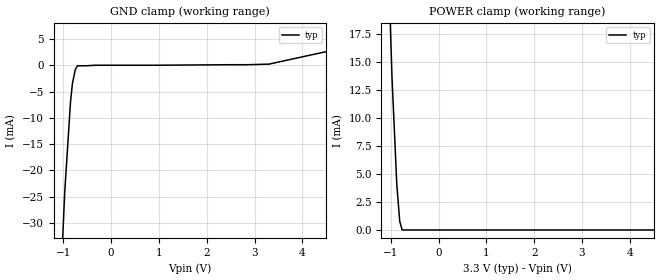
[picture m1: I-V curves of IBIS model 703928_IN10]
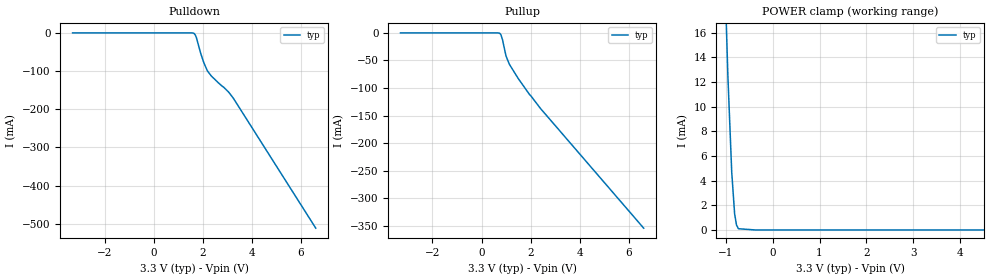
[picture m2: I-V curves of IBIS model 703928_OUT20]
| YOU ARE ONLY AUTHORIZED TO USE THIS SOFTWARE
| ACCORDING TO LICENSOR'S LICENSE RESTRICTIONS.
[IBIS Ver] 3.1
[File Name] mc100ep131fa_33.ibs
[File Rev] 2.0
[Source] Derived from MC10EP195 Measured data by ICX Technology
[Date] 12/6/2001
[Copyright]
| (C) COPYRIGHT 1993-2001
| MENTOR GRAPHICS CORPORATION
| ICX STANDARD LIBRARY, ICX PROJECT MODELING,
| ICX CUSTOM MODELING, ICX VENDOR MODEL
| ALL RIGHTS RESERVED.
| THE FOLLOWING ARE TRADEMARKS OR SERVICE MARKS OF
| MENTOR GRAPHICS CORPORATION:ICX (R), ICX STANDARD
| LIBRARY(R), ICX PROJECT MODELING(R), ICX CUSTOM
| MODELING(R), qualityIBIS(TM), MODELVIEWER(TM),
| AND MODELEDITOR(TM)
| ALL COPIES OF SOFTWARE, INCLUDING BUT NOT LIMITED TO
| ANY MODIFICATIONS, ENHANCEMENTS OR DERIVATIVE WORKS,
| MUST CONTAIN ALL MENTOR GRAPHICS CORPORATION'S
| NOTICES AND LEGENDS, INCLUDING THOSE EMBEDDED IN
| SOFTWARE AND THOSE AFFIXED TO SOFTWARE MEDIUM
| AND CONTAINER, AS RECEIVED FROM MENTOR GRAPHICS
| CORPORATION.
|  ZAP Model Builder 3.1
[Component] MC100ep131FA_33
[Manufacturer] On Semiconductor
[Package]
| variable   typ   min   max
R_pkg  .067ohms NA NA
L_pkg  4.211nH NA NA
C_pkg  1.002pF NA NA
[Pin] signal_name  model_name  R_pin  L_pin C_pin
1 R2 703928_IN10 .066 4.127n .978p
2 _C2 703928_IN10 .066 4.127n .978p
3 C2 703928_IN10 .066 4.127n .978p
4 CC 703928_IN10 .066 4.127n .978p
5 _CC 703928_IN10 .066 4.127n .978p
6 _C1 703928_IN10 .066 4.127n .978p
7 C1 703928_IN10 .066 4.127n .978p
8 D1 703928_IN10 .066 4.127n .978p
9 VEE GND .065 3.973n .928p
10 R1 703928_IN10 .066 4.127n .978p
11 _C0 703928_IN10 .066 4.127n .978p
12 C0 703928_IN10 .066 4.127n .978p
13 VCC POWER .069 4.455n 1.077p
14 D0 703928_IN10 .066 4.127n .978p
15 R0 703928_IN10 .066 4.127n .978p
16 VCC POWER .069 4.455n 1.077p
17 Q0 703928_OUT20 .069 4.455n 1.077p
18 _Q0 703928_OUT20 .069 4.455n 1.077p
19 Q1 703928_OUT20 .069 4.455n 1.077p
20 _Q1 703928_OUT20 .069 4.455n 1.077p
21 Q2 703928_OUT20 .069 4.455n 1.077p
22 _Q2 703928_OUT20 .069 4.455n 1.077p
23 Q3 703928_OUT20 .069 4.455n 1.077p
24 _Q3 703928_OUT20 .069 4.455n 1.077p
25 VCC POWER .069 4.455n 1.077p
26 _C3 703928_IN10 .069 4.455n 1.077p
27 C3 703928_IN10 .069 4.455n 1.077p
28 VEE GND .065 3.973n .928p
29 D3 703928_IN10 .066 4.127n .978p
30 R3 703928_IN10 .066 4.127n .978p
31 SET 703928_IN10 .066 4.127n .978p
32 D2 703928_IN10 .066 4.127n .978p
[Diff Pin] inv_pin vdiff tdelay_typ tdelay_min tdelay_max
3 2 150mv NA NA NA
4 5 150mv NA NA NA
7 6 150mv NA NA NA
12 11 150mv NA NA NA
17 18 NA NA NA NA
19 20 NA NA NA NA
21 22 NA NA NA NA
23 24 NA NA NA NA
27 26 150mv NA NA NA
| Models and submodels in the file (2): 703928_IN10 (Input_ECL), 703928_OUT20 (Output_ECL)
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| (C) COPYRIGHT 1993-2001
| MENTOR GRAPHICS CORPORATION
| ICX STANDARD LIBRARY, ICX PROJECT MODELING,
| ICX CUSTOM MODELING, ICX VENDOR MODEL
| ALL RIGHTS RESERVED.
| THE FOLLOWING ARE TRADEMARKS OR SERVICE MARKS OF
| MENTOR GRAPHICS CORPORATION:ICX (R), ICX STANDARD
| LIBRARY(R), ICX PROJECT MODELING(R), ICX CUSTOM
| MODELING(R), qualityIBIS(TM), MODELVIEWER(TM),
| AND MODELEDITOR(TM)
| ALL COPIES OF SOFTWARE, INCLUDING BUT NOT LIMITED TO
| ANY MODIFICATIONS, ENHANCEMENTS OR DERIVATIVE WORKS,
| MUST CONTAIN ALL MENTOR GRAPHICS CORPORATION'S
| NOTICES AND LEGENDS, INCLUDING THOSE EMBEDDED IN
| SOFTWARE AND THOSE AFFIXED TO SOFTWARE MEDIUM
| AND CONTAINER, AS RECEIVED FROM MENTOR GRAPHICS
| CORPORATION.
| Model Application Version 1.89 2/18/99.
[Model] 703928_IN10
Model_type Input_ECL
Vinl = 1.755V
Vinh = 2.155V
C_comp 1.000pF NA NA
| variable typ   min   max
[Voltage Range] 3.300V NA NA
[GND Clamp Reference] 0.000V NA NA
[POWER Clamp Reference] 3.300V NA NA
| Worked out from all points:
|   GND clamp passes 1 mA (typ) near -0.75 V on its own axis
|   POWER clamp passes 1 mA (typ) near -0.82 V on its own axis
[GND Clamp]
-3.3V     -612mA     NA         NA
-1.115V   -53.9mA    NA         NA
-973mV    -24.3mA    NA         NA
-851mV    -7mA       NA         NA
-811mV    -3.5mA     NA         NA
-750mV    -800uA     NA         NA
-704.3mV  -100uA     NA         NA
3.294V    200uA      NA         NA
6.6V      6.748mA    NA         NA
[POWER Clamp]
-3.3V     422.1mA    NA         NA
-1.484V   91.15mA    NA         NA
-1.18V    40.95mA    NA         NA
-977mV    13.65mA    NA         NA
-876mV    4.052mA    NA         NA
-815mV    773.3uA    NA         NA
-764.1mV  0A         NA         NA
6.6V      0A         NA         NA
| (C) COPYRIGHT 1993-2001
| MENTOR GRAPHICS CORPORATION
| ICX STANDARD LIBRARY, ICX PROJECT MODELING,
| ICX CUSTOM MODELING, ICX VENDOR MODEL
| ALL RIGHTS RESERVED.
| THE FOLLOWING ARE TRADEMARKS OR SERVICE MARKS OF
| MENTOR GRAPHICS CORPORATION:ICX (R), ICX STANDARD
| LIBRARY(R), ICX PROJECT MODELING(R), ICX CUSTOM
| MODELING(R), qualityIBIS(TM), MODELVIEWER(TM),
| AND MODELEDITOR(TM)
| ALL COPIES OF SOFTWARE, INCLUDING BUT NOT LIMITED TO
| ANY MODIFICATIONS, ENHANCEMENTS OR DERIVATIVE WORKS,
| MUST CONTAIN ALL MENTOR GRAPHICS CORPORATION'S
| NOTICES AND LEGENDS, INCLUDING THOSE EMBEDDED IN
| SOFTWARE AND THOSE AFFIXED TO SOFTWARE MEDIUM
| AND CONTAINER, AS RECEIVED FROM MENTOR GRAPHICS
| CORPORATION.
| Model Application Version 1.89 2/18/99.
[Model] 703928_OUT20
Model_type Output_ECL
Vref=1.300V
Rref=50.00ohms
Cref=0.000F
Vmeas=1.955V
C_comp 1.000pF NA NA
| variable typ   min   max
[Voltage Range] 3.300V NA NA
[POWER Clamp Reference] 3.300V NA NA
[Pullup Reference] 3.300V NA NA
[Pulldown Reference] 3.300V NA NA
[GND Clamp Reference] 0.000V NA NA
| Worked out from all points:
|   POWER clamp passes 1 mA (typ) near -0.80 V on its own axis
[GND Clamp]
-3.3V     0A         NA         NA
6.6V      0A         NA         NA
[Pulldown]
-3.3V     0A         NA         NA
1.537V    0A         NA         NA
1.658V    -2.2mA     NA         NA
1.74V     -12.5mA    NA         NA
1.922V    -54.9mA    NA         NA
2.043V    -78.3mA    NA         NA
2.185V    -99.2mA    NA         NA
2.348V    -112.9mA   NA         NA
3.057V    -155.4mA   NA         NA
3.239V    -170.6mA   NA         NA
6.6V      -511.4mA   NA         NA
[Pullup]
-3.3V     0A         NA         NA
650mV     0A         NA         NA
751mV     -1.2mA     NA         NA
792mV     -3.8mA     NA         NA
853mV     -12.5mA    NA         NA
994mV     -41.9mA    NA         NA
1.136V    -57.3mA    NA         NA
1.501V    -83.4mA    NA         NA
1.947V    -111.5mA   NA         NA
2.393V    -136.9mA   NA         NA
6.6V      -354.5mA   NA         NA
[POWER Clamp]
-3.3V     460.8mA    NA         NA
-1.377V   79.8mA     NA         NA
-1.175V   44mA       NA         NA
-1.053V   25mA       NA         NA
-952mV    12.4mA     NA         NA
-871mV    4.7mA      NA         NA
-809mV    1.3mA      NA         NA
-769mV    400uA      NA         NA
-728mV    100uA      NA         NA
-364mV    0A         NA         NA
6.6V      0A         NA         NA
[Ramp]
| variable typ min max
dV/dt_r 336.8m/205.7p NA NA
dV/dt_f 336.8m/166.5p NA NA
R_load = 50.00Ohms
